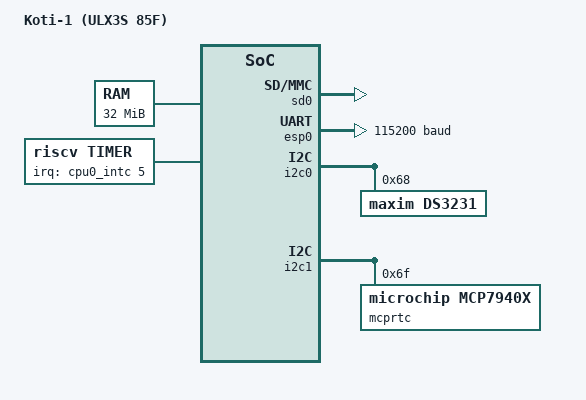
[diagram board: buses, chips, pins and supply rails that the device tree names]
/*
 * koti.dts — the machine description Linux gets handed in a1.
 *
 * This describes what SUPERVISOR mode can see, which is why several things you
 * might expect are deliberately absent:
 *
 *   no CLINT node   — mtime/mtimecmp are M-mode registers. S-mode reaches the
 *                     timer through the SBI TIME extension, so the kernel wants
 *                     `timebase-frequency` and the CPU-local interrupt
 *                     controller, not an MMIO range it cannot legally touch.
 *   no serial node  — koti's UART is transmit-only at a core-internal MMIO
 *                     address and is not a 16550. The console is the SBI one,
 *                     and it needs CONFIG_RISCV_SBI_V01 because koti's
 *                     firmware answers the legacy calls and not DBCN.
 *   keyboard@60000  — ADDED 2026-08-08, with a driver of koti's own
 *                     (sw/linux/koti_kbd.c). Mainline binds to nothing here:
 *                     a soft USB host core is neither EHCI nor OHCI, exactly
 *                     as the PS/2 word this replaced was not an i8042. What
 *                     changed is that the driver now exists.
 *
 * (A PLIC node WAS absent for the same reason until 2026-08-04, when
 * src/plic.sv was built. It is here now, under /soc.)
 *
 * Build:  dtc -I dts -O dtb -o koti.dtb koti.dts   (the `dtb` job in
 *         .github/workflows/linux.yaml; the resulting blob is committed as
 *         koti.dtb because the firmware is built on a host with no dtc)
 *
 * Copyright (c) 2026 Joonatan Alanampa
 * SPDX-License-Identifier: Apache-2.0
 */

/dts-v1/;

/ {
	#address-cells = <1>;
	#size-cells = <1>;
	compatible = "joonatanalanampa,koti1";
	model = "Koti-1 (ULX3S 85F)";

	/*
	 * ⛔ WHICH CLOCK THE KERNEL TRUSTS AT BOOT, AND IT IS NOT THE ACCURATE
	 * ONE. CONFIG_RTC_HCTOSYS_DEVICE is the string "rtc0", and rtc0 is
	 * whichever RTC registers first unless an alias pins it — drivers/rtc/
	 * class.c calls of_alias_get_id(node, "rtc") and uses that as the
	 * device id.
	 *
	 * koti has two, and they differ in a way that decides this:
	 *   the MCP7940N is SOLDERED TO THE BOARD and is always there;
	 *   the DS3231 hangs off J1 on four wires and may not be plugged in.
	 *
	 * If the DS3231 were rtc0, then on a machine with nothing plugged into
	 * J1 there would BE no rtc0 — hctosys would log "unable to open rtc
	 * device (rtc0)" and the machine would boot at the epoch while a
	 * perfectly good clock sat on the board unread. So rtc0 is the one that
	 * cannot be absent, and the better clock is rtc1.
	 *
	 * ⚠️ That means the boot-time clock is the ~1 min/month one. Userspace
	 * takes the DS3231's reading when it is present — see the rtc1 handling
	 * in rootfs-overlay/etc/init.d/S45kotisd — which is the right place for
	 * a policy that depends on what is plugged in.
	 */
	aliases {
		rtc0 = &mcprtc;
		rtc1 = &ds3231;
	};

	chosen {
		/*
		 * hvc0 is the SBI console: koti has no device Linux would bind a
		 * tty to, so the kernel's only way out is the firmware call the
		 * payload already uses. earlycon=sbi is what makes the boot
		 * visible before the console driver probes — without it a kernel
		 * that dies early dies silently, which on a machine being brought
		 * up for the first time is the difference between a bug and a
		 * mystery.
		 */
		/*
		 * root= names the card's second partition, the ext2 filesystem
		 * tools/sdkernel.py writes. It is here rather than hardcoded in
		 * /init so the device lives in ONE place.
		 *
		 * ⚠️ The kernel itself never acts on this. An initramfs is built
		 * in, so the kernel runs /init and never reaches its own root=
		 * handling; sw/linux/rootfs-overlay/init is what reads this out of
		 * /proc/cmdline and switch_roots onto it. That indirection is
		 * deliberate — the kernel's root= answers a missing card with a
		 * panic, and /init answers it by staying in RAM and saying why.
		 * Changing this line therefore changes where root comes from, but
		 * only via /init, and only after a firmware reflash since the DTB
		 * ships in flash.
		 */
		/*
		 * ⭐ TWO consoles, and the ORDER is load-bearing. printk goes to
		 * every `console=` listed, so tty1 is what puts kernel messages
		 * on the HDMI monitor through koticon (PLAN.md item 9b) — without
		 * it koticon owns the screen and nothing ever writes to it, which
		 * renders as a perfectly working BLANK display. That is exactly
		 * what the first hardware test showed.
		 *
		 * ⚠️ hvc0 is LAST because the last `console=` becomes /dev/console,
		 * and therefore where the login prompt lives. Keeping it on the
		 * serial line means a bring-up session watching COM3 still sees
		 * the prompt it expects. Swapping the order moves the login to the
		 * screen — which is desirable eventually, but it needs a getty on
		 * tty1 and it should be a deliberate change, not a side effect of
		 * how this string is ordered.
		 *
		 * ⚠️ koti's UART IS TRANSMIT-ONLY. A serial console here can be
		 * read and never typed at; every keystroke arrives through the USB
		 * keyboard and SBI console_getchar. Do not assume a serial console
		 * implies a serial terminal.
		 */
		bootargs = "console=tty1 console=hvc0 earlycon=sbi random.trust_bootloader=1 root=/dev/kotisd2 rootfstype=ext2 rw";

		/*
		 * ⚠️ THIS SEED IS NOT SECRET AND NOT RANDOM. It is a fixed
		 * constant committed to a public repository, and the bytes are
		 * deliberately patterned so that nobody can mistake it for
		 * entropy. It exists to make the machine usable, not secure.
		 *
		 * WHY IT IS HERE. Until the CRNG is seeded, `crng_init` is
		 * CRNG_EMPTY, and crng_make_state() takes a branch that runs a
		 * full extract_entropy() — a BLAKE2s hash of the whole input
		 * pool — on EVERY SINGLE random draw. Read straight off the
		 * disassembly: `bnez a4, +0xc` skips the extract_entropy call
		 * once crng_init is non-zero. The kernel draws random numbers
		 * constantly (hashing, path walking, the allocator), so on koti
		 * that branch cost 34% of all machine time, measured on the
		 * traced run 31038739162. The boot was not stuck — every one of
		 * its random numbers was costing a hash.
		 *
		 * Crediting the seed moves crng_init off CRNG_EMPTY, which is
		 * all it takes to retire that branch. It needs
		 * random.trust_bootloader=1 above, because
		 * CONFIG_RANDOM_TRUST_BOOTLOADER is not available in this
		 * config and add_bootloader_randomness() only credits what it
		 * is told to trust. Linux erases the property from the DTB
		 * after reading it, which is why nothing downstream sees it.
		 *
		 * ⛔ THE REAL FIX IS A HARDWARE ENTROPY SOURCE. koti has a whole
		 * FPGA to put a ring-oscillator TRNG in, and once one exists
		 * this property should be deleted rather than kept alongside
		 * it. Until then: do not put anything on this machine that
		 * depends on unpredictable numbers, because there are none.
		 */
		rng-seed = [
			6b 6f 74 69 20 66 69 78 65 64 20 73 65 65 64 2c
			20 6e 6f 74 20 73 65 63 72 65 74 2c 20 6e 6f 74
			20 72 61 6e 64 6f 6d 2e 20 73 65 65 20 6b 6f 74
			69 2e 64 74 73 20 66 6f 72 20 77 68 79 2e 0a 00
		];
	};

	cpus {
		#address-cells = <1>;
		#size-cells = <0>;

		/*
		 * clint.sv increments mtime once per core clock and the core runs
		 * at 25 MHz, so the timebase IS the core clock. If the core clock
		 * ever changes, this number must change with it: Linux derives
		 * every delay and the whole scheduler tick from it, and a wrong
		 * value does not fail — it just makes the machine run at the
		 * wrong speed while looking fine.
		 */
		timebase-frequency = <25000000>;

		cpu@0 {
			device_type = "cpu";
			reg = <0>;
			status = "okay";
			compatible = "riscv";
			riscv,isa-base = "rv32i";
			riscv,isa-extensions = "i", "m", "a", "zicsr", "zifencei";
			mmu-type = "riscv,sv32";
			clock-frequency = <25000000>;

			cpu0_intc: interrupt-controller {
				#interrupt-cells = <1>;
				compatible = "riscv,cpu-intc";
				interrupt-controller;
			};
		};
	};

	/*
	 * RAM: the whole 32 MB part, all of it addressable since 2026-08-08.
	 * (It used to be 16 MB because `addr[22]` was spent as the flash/RAM
	 * device select; the core's word address is 24 bits now and the select
	 * is `a[23:22] != 00`. There is no longer a second build with a
	 * different answer — koti is FPGA-only.)
	 */
	memory@1000000 {
		device_type = "memory";
		/*
		 * 32 MB since 2026-08-08 (PLAN.md item 12). It was 0x01000000 —
		 * and that was CORRECT for the hardware as built, because the
		 * core's word address was 23 bits with a[22] spent as the
		 * flash/RAM device select, so half the soldered part could not
		 * be addressed at all. The bus is 24 bits now and RAM spans
		 * a[23:22] == 01 and 10, i.e. 0x0100_0000..0x02FF_FFFF.
		 *
		 * ⚠️ This length is a PROMISE to the kernel, not a request: make
		 * it larger than what the select actually reaches and Linux
		 * will hand out pages that alias onto memory it is already
		 * using, which corrupts long after the fact and never points
		 * here. It must move in the same commit as src/project.sv.
		 */
		reg = <0x01000000 0x02000000>;
	};

	reserved-memory {
		#address-cells = <1>;
		#size-cells = <1>;
		ranges;

		/*
		 * The M-mode firmware's own RAM: .bss, the M and S stacks
		 * (0x0100_6000 / 0x0100_7000) and the VGA charbuf (0x0100_8000,
		 * 40x30 bytes). All of it fits inside 64 KB.
		 *
		 * The reservation is 64 KB and not the whole 4 MiB below the
		 * kernel, because the 4 MiB constraint applies to where the KERNEL
		 * may load, not to how much has to be kept away from Linux. RV32
		 * Linux maps all of RAM linearly and is perfectly happy to hand
		 * out pages below its own image, so reserving the rest would throw
		 * away about 4 MB for nothing.
		 *
		 * Leaving this node out entirely is not a subtle failure but it is
		 * a confusing one: the kernel boots and then corrupts itself the
		 * first time the firmware takes a trap and pushes a frame.
		 *
		 * The DTB itself is NOT reserved here on purpose. It sits at
		 * 0x013F_0000 in ordinary memory and Linux reserves it for itself
		 * via early_init_fdt_reserve_self(); putting it in a `no-map`
		 * region instead would take it out of the linear map that the
		 * early FDT code expects to read it through.
		 */
		fw_reserved: firmware@1000000 {
			reg = <0x01000000 0x00010000>;
			no-map;
		};
	};

	/*
	 * The SBI timer. Not an MMIO device — the driver issues the TIME
	 * extension call that sbi.c implements and takes the S-mode timer
	 * interrupt (cause 5) the firmware injects.
	 *
	 * It sits at the ROOT and not under /soc on purpose. /soc is a
	 * `simple-bus`, every child of which is expected to have a `reg`, and
	 * this node has no registers to name — dtc says so
	 * (`simple_bus_reg: missing or empty reg/ranges property`). A node with
	 * no address does not belong on a bus.
	 */
	timer {
		compatible = "riscv,timer";
		interrupts-extended = <&cpu0_intc 5>;
	};

	soc {
		#address-cells = <1>;
		#size-cells = <1>;
		compatible = "simple-bus";
		ranges;

		/*
		 * src/plic.sv is register-compatible with the SiFive PLIC, so
		 * mainline's driver runs it unmodified. That is the whole reason it
		 * occupies 4 MB of address space: the context registers live at
		 * offset 0x200000 and the driver hard-codes that.
		 *
		 * ONE entry in interrupts-extended, and it is the S-mode one. The
		 * driver derives the hardware context index from the POSITION in
		 * this list, so a single S entry means it drives context 0 — which
		 * is the only context the RTL implements. Adding an M-mode entry
		 * first, as a fuller PLIC's devicetree would, silently shifts the
		 * supervisor context to 1 and the driver would then program
		 * registers that do not exist.
		 *
		 * riscv,ndev is 4: source IDs 1..4, of which only 1 (the keyboard)
		 * is currently wired in project.sv.
		 */
		plic0: interrupt-controller@c00000 {
			compatible = "sifive,plic-1.0.0";
			reg = <0x00c00000 0x00400000>;
			interrupt-controller;
			#interrupt-cells = <1>;
			#address-cells = <0>;
			interrupts-extended = <&cpu0_intc 9>;
			riscv,ndev = <4>;
		};

		/*
		 * The microSD controller — src/sd_ctrl.sv, four registers over a
		 * vendored SPI-mode engine. NOT an SDHCI and not an MMC host, so
		 * mainline has no driver for it; sw/linux/koti_sd.c is the one it
		 * gets. The same is true of the PS/2 word and the USB core, and was
		 * planned for rather than discovered.
		 *
		 * NO INTERRUPT PROPERTY, because sd_ctrl has no IRQ line. The driver
		 * polls SD_DONE. Adding `interrupts` here would describe hardware
		 * that does not exist and the driver would wait forever for it.
		 *
		 * `koti,sectors` exists because the engine never reads the card's
		 * CSD, so nothing on the machine can ask how big the card is — it
		 * has to be declared. 61067264 sectors is the MEASURED size of the
		 * card on the bench (29.12 GiB), read from the host rather than
		 * assumed — the first value written here was 61071360, a guess from
		 * the rounded capacity, and it was 4096 sectors TOO LARGE.
		 * ⚠️ TOO SMALL only hides the tail of the card; TOO LARGE lets the
		 * partition scanner read past the end and report IO errors on a
		 * perfectly healthy card. Shrink rather than guess upward.
		 */
		sd0: mmc@50000 {
			compatible = "koti,sd-1";
			reg = <0x00050000 0x00010000>;
			koti,sectors = <61067264>;
		};

		/*
		 * The USB HID keyboard block, src/usb_kbd.sv. Added 2026-08-08.
		 *
		 * ⚠️ Linux does NOT own this keyboard exclusively, and the driver
		 * says so: koti's M-mode SBI firmware reads register +0x00 to feed
		 * the hvc0 console (that is what makes the login prompt typeable),
		 * while sw/linux/koti_kbd.c reads +0x08. They are two independent
		 * read pointers over one queue of keystrokes, so neither steals
		 * from the other -- the same way a PC delivers a keypress to the
		 * console and to /dev/input at once.
		 *
		 * PLIC source 1. The interrupt follows the LINUX port, not the
		 * firmware's: it exists to raise `seip`, which is supervisor
		 * external, so tying it to the firmware's queue would let the
		 * firmware's reads lower a line meant for Linux.
		 */
		kbd0: keyboard@60000 {
			compatible = "koti,usb-kbd-1.0";
			reg = <0x00060000 0x00010000>;
			interrupt-parent = <&plic0>;
			interrupts = <1>;
		};

		/*
		 * The ESP32 link — src/esp_uart.sv, PLAN item 11. This is koti's
		 * only route to a network: the onboard ESP32 over its own serial
		 * pair on K3/K4, with a 64-byte receive FIFO and PLIC source 2.
		 *
		 * ⛔ IT IS NOT A 16550 AND MAINLINE BINDS TO NOTHING HERE, the
		 * same as the keyboard above. `ns16550a` would be a lie that
		 * ends in a driver poking registers that are not there.
		 *
		 * ⚠️ The node does NOT wake the ESP32. esp_uart's control
		 * register resets to 0, holding it in reset, and the chip's
		 * GPIOs are the microSD bus — see the experiment in
		 * fpga/ulx3s/README.md 2e. A driver binding here gets a serial
		 * port; making the far end run is a separate, deliberate act.
		 */
		esp0: serial@70000 {
			compatible = "koti,esp-uart-1.0";
			reg = <0x00070000 0x00010000>;
			interrupt-parent = <&plic0>;
			interrupts = <2>;
			clock-frequency = <25000000>;
			current-speed = <115200>;
		};

		/*
		 * Sound — src/audio_r2r.sv + vendor/audio.sv, PLAN item 21.
		 * Four voices, one 32-bit register each, straight onto the
		 * board's 3.5 mm jack through its 4-bit R2R ladder.
		 *
		 *   +0..+C  voice 0..3
		 *   [15:0]  freq, phase increment; Hz = freq * 0.745058
		 *   [19:16] volume 0-15, 0 = silent
		 *   [21:20] wave: 0 square, 1 triangle, 2 noise, 3 off
		 *
		 * ⛔ NO INTERRUPT, and that is not an omission. The synth runs
		 * free in fabric once written: a voice sounds until software
		 * silences it, so there is no event for the CPU to be told
		 * about. A driver here starts and stops notes; it never
		 * services them.
		 *
		 * 🪤 THIS NODE COST A REFLASH TO ADD, and would have cost a
		 * SECOND one if it had been left for later — the DTB lives
		 * inside the SBI firmware, which is baked into the bitstream.
		 * It rides along with the bitstream that first carried the
		 * audio pins for exactly that reason.
		 */
		snd0: audio@80000 {
			compatible = "koti,audio-1.0";
			reg = <0x00080000 0x00010000>;
			clock-frequency = <25000000>;
		};

		/*
		 * The I2C bus, and the DS3231 real-time clock on it — PLAN.md
		 * item 28, hardware src/i2c_bit.sv, driver sw/linux/koti_i2c.c.
		 *
		 * ⭐ THIS IS THE FIRST NODE ON koti WHOSE *CHILD* IS DRIVEN BY
		 * MAINLINE. koti's own blocks all needed drivers of koti's own,
		 * because a soft USB host is not an EHCI, its SD engine is not an
		 * SDHCI and its UART is not a 16550. The RTC is different: it is
		 * a real Maxim part on a real I2C bus, so once the bus exists,
		 * drivers/rtc/rtc-ds1307.c binds to it unmodified and koti gets
		 * /dev/rtc0, hwclock, and the kernel setting its own clock at
		 * boot — none of which is code anybody here has to maintain.
		 * Everything koti had to write is the two-bit bus underneath.
		 *
		 * NO INTERRUPT PROPERTY. The DS3231's INT/SQW output is wired to
		 * a pin (gn[8], A5) and is readable as bit 4 of the block's
		 * register, but it is NOT routed to the PLIC — so alarms cannot
		 * wake anything and this node must not claim they can. rtc-ds1307
		 * checks for an IRQ and simply leaves alarm support off without
		 * one, which is the honest configuration. Wiring it up later is a
		 * PLIC source and a reflash, and the pin is already there for it.
		 *
		 * 🪤 LIKE THE SOUND NODE, THIS COSTS A REFLASH TO ADD. The DTB
		 * lives inside the M-mode firmware, which is baked into the
		 * bitstream — so it rides along with the bitstream that first
		 * carries the I2C pins, and adding it later would cost a second
		 * `fujprog -j flash` for nothing.
		 */
		i2c0: i2c@90000 {
			compatible = "koti,i2c-bit-1.0";
			reg = <0x00090000 0x00010000>;
			#address-cells = <1>;
			#size-cells = <0>;

			/*
			 * "maxim,ds3231" is rtc-ds1307.c's own compatible
			 * string in 6.12 (read out of the driver's
			 * of_device_id table, not remembered). 0x68 is the
			 * DS3231's fixed 7-bit address — the part has no
			 * address pins, so there is nothing to configure and
			 * nothing to get wrong.
			 *
			 * ⚠️ The common ZS-042 module also carries an AT24C32
			 * EEPROM at 0x57. It is deliberately NOT described
			 * here: koti has no use for 4 KB of EEPROM, and a node
			 * for a chip that a different module may not have
			 * would produce a probe failure in the boot log on
			 * every machine that has the other kind. `i2cdetect -y
			 * 0` finds it either way.
			 */
			ds3231: rtc@68 {
				compatible = "maxim,ds3231";
				reg = <0x68>;
			};
		};

		/*
		 * The SECOND I2C bus — and the RTC THE BOARD ALREADY HAD.
		 *
		 * ⭐ The ULX3S carries a populated MCP7940N (U7) with its own
		 * 32.768 kHz crystal (Y2) and a CR1225 holder (BAT1), wired
		 * straight to the FPGA on balls E12/B19 with 3.3k pull-ups
		 * fitted. Nothing in this project had noticed until the user
		 * asked what the coin cell on the back was for. It needs no
		 * soldering and no header — only the cell.
		 *
		 * Same block as bus 0, second instance (src/i2c_bit.sv), and
		 * the SAME driver again: rtc-ds1307.c matches
		 * "microchip,mcp7940x" as well as "maxim,ds3231". Two RTCs,
		 * two busses, one driver file, none of it koti's.
		 *
		 * ⚠️ THIS BUS IS SHARED WITH THE HDMI CONNECTOR'S DDC PINS
		 * through a PCA9306 translator — that is how a board reads a
		 * monitor's EDID. A monitor may therefore answer at 0x50 on
		 * this bus. Harmless (different address), and worth knowing
		 * before someone reads an unexpected device as a fault.
		 */
		i2c1: i2c@a0000 {
			compatible = "koti,i2c-bit-1.0";
			reg = <0x000a0000 0x00010000>;
			#address-cells = <1>;
			#size-cells = <0>;

			/*
			 * 0x6F is fixed in the MCP794xx family — the part has
			 * no address pins. Its alarm output is NOT wired to
			 * the FPGA at all: it goes through two diodes into the
			 * board's power path, so it can switch the BOARD on
			 * rather than interrupt the CPU. No `interrupts`
			 * property, for the same reason as the DS3231 above.
			 */
			mcprtc: rtc@6f {
				compatible = "microchip,mcp7940x";
				reg = <0x6f>;
			};
		};

		/*
		 * The 40x30 text console — PLAN.md item 9b, driver
		 * sw/linux/koticon.c. `reg` is the VGA register block, NOT the
		 * character buffer: the buffer is ordinary RAM that the driver
		 * allocates for itself, and `VGA_BASE` (offset 0x04) is how the
		 * raster is told where it is.
		 *
		 * ⭐ That register is why this needed no ownership protocol with
		 * the firmware. M-mode keeps drawing the boot log into its own
		 * buffer at 0x0100_8000 forever; Linux simply points the
		 * hardware somewhere else and owns the screen from that
		 * instant.
		 *
		 * ⚠️ The driver writes offset 0x04 and nothing else. Offset
		 * 0x00 also holds `uart_b0`, which moves the serial console to
		 * uo[6] and pairs with the SW3 DIP switch — a read-modify-write
		 * from Linux could move the console out from under whoever is
		 * watching it.
		 */
		vgacon0: koticon@40000 {
			compatible = "koti,vga-text";
			reg = <0x00040000 0x0000000c>;
		};
	};
};
